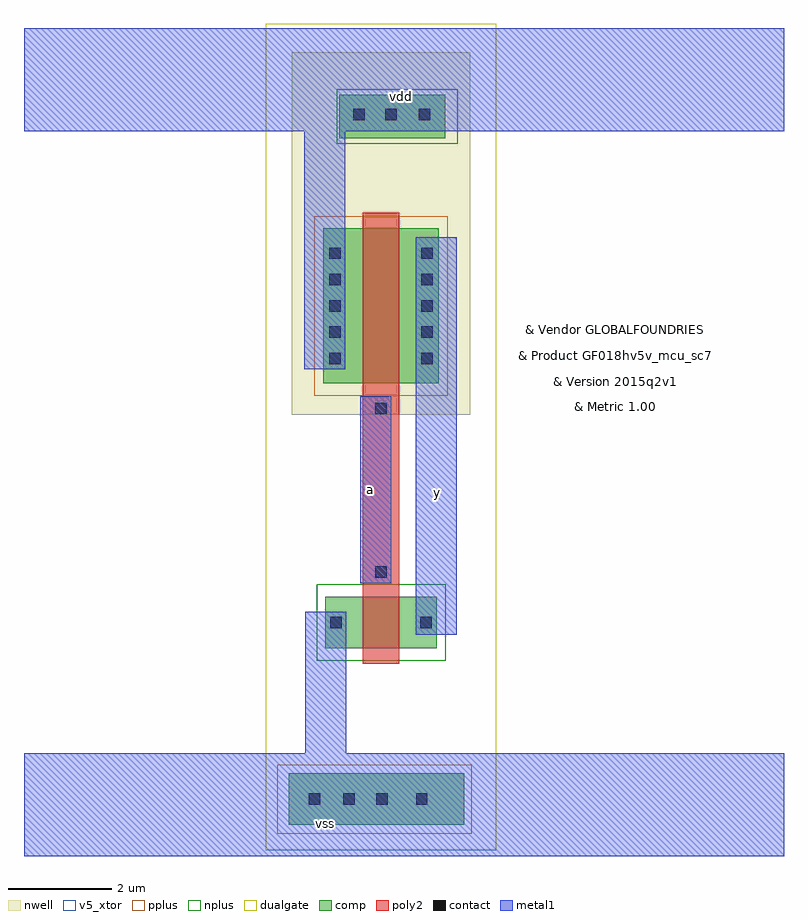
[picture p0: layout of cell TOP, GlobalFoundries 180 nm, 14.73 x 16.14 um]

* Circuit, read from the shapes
.subckt TOP a vdd vss y
XM1 y a vss vss nfet_05v0 w=1u l=0.7u
XM2 y a vdd vdd pfet_05v0 w=3u l=0.7u
.ends

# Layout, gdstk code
import gdstk
lib = gdstk.Library(unit=1e-6, precision=1e-08)
def R(c, l, rs):  # rectangles x0, y0, x1, y1
    for r in rs: c.add(gdstk.rectangle(r[:2], r[2:], *l))
def A(c, l, x, y, w, h, nx, ny, dx, dy):  # array of equal rectangles
    R(c, l, [(x+i*dx, y+j*dy, x+i*dx+w, y+j*dy+h) for i in range(nx) for j in range(ny)])
nwell = (21, 0)
comp = (22, 0)
poly2 = (30, 0)
pplus = (31, 0)
nplus = (32, 0)
contact = (33, 0)
metal1 = (34, 0)
dualgate = (55, 0)
v5_xtor = (112, 1)

top = lib.new_cell('TOP')
R(top, nwell, [(-1.25,0.22,2.21,7.25)])
R(top, comp, [(-1.31,-7.73,2.09,-6.73), (-0.6,-4.31,-0.18,-3.31), (-0.18,-4.31,1.14,-3.31), (1.14,-4.31,1.56,-3.31), (-0.64,0.83,-0.18,3.83), (-0.18,0.83,1.14,3.83), (1.14,0.83,1.6,3.83), (-0.33,5.58,1.72,6.42)])
R(top, poly2, [(0.13,-4.61,0.83,-3.01), (0.13,-3.01,0.83,-2.65), (0.13,-2.91,0.83,0.88), (0.13,0.15,0.83,0.53), (0.13,0.53,0.83,4.13)])
R(top, pplus, [(-1.53,-7.9,2.24,-6.56), (-0.81,0.59,1.77,4.07)])
R(top, nplus, [(-0.77,-4.55,1.73,-3.07), (-0.38,5.47,1.97,6.53)])
A(top, contact, -0.52, 1.2, 0.22, 0.22, 1, 5, 0, 0.51)
A(top, contact, 1.26, 1.2, 0.22, 0.22, 1, 5, 0, 0.51)
R(top, contact, [(-0.92,-7.34,-0.7,-7.12), (-0.25,-7.34,-0.03,-7.12), (-0.25,-7.34,-0.03,-7.12), (0.39,-7.34,0.61,-7.12), (1.16,-7.34,1.38,-7.12), (-0.5,-3.92,-0.28,-3.7), (1.24,-3.92,1.46,-3.7), (0.37,-2.94,0.59,-2.72), (0.37,0.23,0.59,0.45), (-0.06,5.93,0.16,6.15), (0.56,5.93,0.78,6.15), (1.21,5.93,1.43,6.15)])
R(top, metal1, [(-1,-7.42,-0.62,-7.04), (-0.58,-4,-0.2,-3.62), (1.16,-4,1.54,-3.62), (0.29,-3.02,0.67,-2.64), (0.29,0.15,0.67,0.53), (-0.6,1.12,-0.22,3.54), (1.18,1.12,1.56,3.54)])
R(top, dualgate, [(-1.75,-8.21,2.71,7.8), (-1.02,-5.02,1.98,-2.23), (-1.06,-0.26,2.02,4.54)])
R(top, v5_xtor, [(-1.75,-8.22,2.71,7.8), (-1.02,-5.02,1.98,-2.23), (-1.06,-0.26,2.02,4.54)])
top.add(gdstk.FlexPath([(-6.44,6.71),(8.29,6.71)], 2, ends="flush", simple_path=True, layer=34, datatype=0))  # metal1
top.add(gdstk.FlexPath([(-6.44,-7.34),(8.29,-7.34)], 2, ends="flush", simple_path=True, layer=34, datatype=0))  # metal1
top.add(gdstk.FlexPath([(-0.59,-3.6),(-0.59,-6.51)], 0.8, ends="flush", simple_path=True, layer=34, datatype=0))  # metal1
top.add(gdstk.FlexPath([(-0.61,1.1),(-0.61,6.12)], 0.8, ends="flush", simple_path=True, layer=34, datatype=0))  # metal1
top.add(gdstk.FlexPath([(1.55,3.66),(1.55,-4.04)], 0.8, ends="flush", simple_path=True, layer=34, datatype=0))  # metal1
top.add(gdstk.FlexPath([(0.38,-3.05),(0.38,0.58)], 0.6, ends="flush", simple_path=True, layer=34, datatype=0))  # metal1
top.add(gdstk.Label('a', (0.28,-1.22), layer=34, texttype=10))
top.add(gdstk.Label('y', (1.57,-1.29), layer=34, texttype=10))
top.add(gdstk.Label('vdd', (0.88,6.39), layer=34, texttype=10))
top.add(gdstk.Label('vss', (-0.6,-7.71), layer=34, texttype=10))
top.add(gdstk.Label('& Vendor GLOBALFOUNDRIES', (5.03,1.87), layer=63, texttype=63))
top.add(gdstk.Label('& Product GF018hv5v_mcu_sc7', (5.03,1.37), layer=63, texttype=63))
top.add(gdstk.Label('& Version 2015q2v1', (5.03,0.87), layer=63, texttype=63))
top.add(gdstk.Label('& Metric 1.00', (5.03,0.37), layer=63, texttype=63))

lib.write_gds('TOP.gds')
